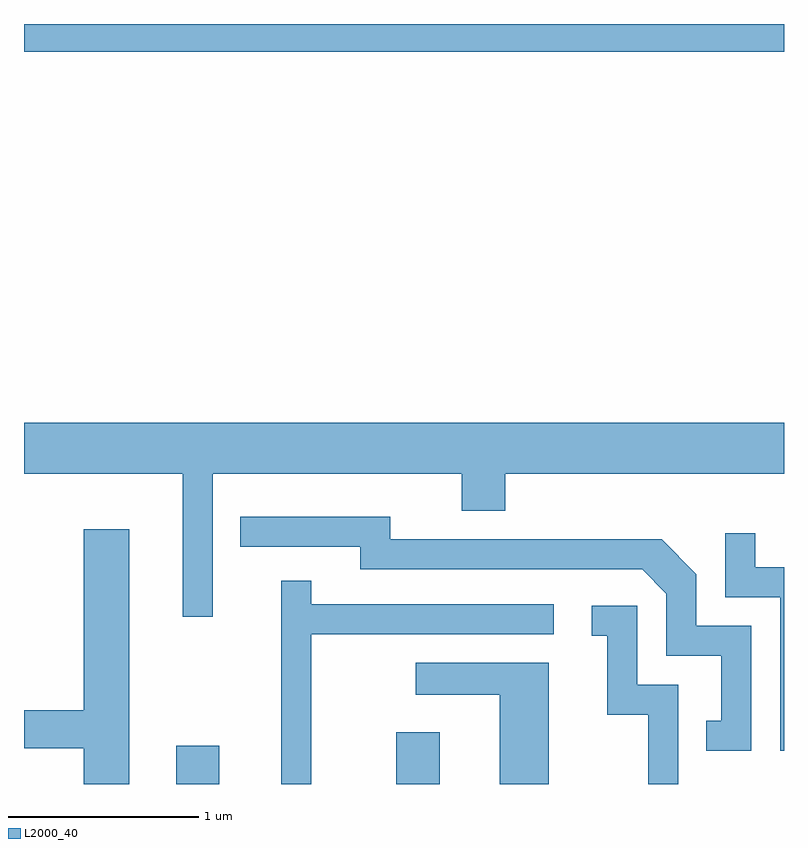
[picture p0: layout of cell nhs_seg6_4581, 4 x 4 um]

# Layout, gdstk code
import gdstk
lib = gdstk.Library(unit=1e-6, precision=1e-09)
def R(c, l, rs):  # rectangles x0, y0, x1, y1
    for r in rs: c.add(gdstk.rectangle(r[:2], r[2:], *l))
def P(c, l, *ps):  # polygons
    for p in ps: c.add(gdstk.Polygon(p, *l))
L2000_40 = (2000, 40)

nhs_seg6_4581 = lib.new_cell('nhs_seg6_4581')
R(nhs_seg6_4581, L2000_40, [(326.411,1566.162,326.639,1566.364), (327.571,1566.162,327.799,1566.434), (325.611,1570.016,329.611,1570.162)])
P(nhs_seg6_4581, L2000_40, [(326.604,1567.796),(327.916,1567.796),(327.916,1567.601),(328.144,1567.601),(328.144,1567.796),(329.611,1567.796),(329.611,1568.064),(325.611,1568.064),(325.611,1567.796),(326.446,1567.796),(326.446,1567.043),(326.604,1567.043)],
  [(329.439,1566.994),(329.149,1566.994),(329.149,1567.267),(328.967,1567.449),(327.539,1567.449),(327.539,1567.569),(326.748,1567.569),(326.748,1567.411),(327.381,1567.411),(327.381,1567.291),(328.864,1567.291),(328.991,1567.164),(328.991,1566.836),(329.281,1566.836),(329.281,1566.494),(329.203,1566.494),(329.203,1566.336),(329.439,1566.336)],
  [(326.164,1567.504),(325.926,1567.504),(325.926,1566.549),(325.611,1566.549),(325.611,1566.351),(325.926,1566.351),(325.926,1566.162),(326.164,1566.162)],
  [(329.611,1567.304),(329.459,1567.304),(329.459,1567.483),(329.301,1567.483),(329.301,1567.146),(329.591,1567.146),(329.591,1566.336),(329.611,1566.336)],
  [(327.124,1566.951),(328.398,1566.951),(328.398,1567.109),(327.124,1567.109),(327.124,1567.233),(326.966,1567.233),(326.966,1566.162),(327.124,1566.162)],
  [(329.054,1566.684),(328.839,1566.684),(328.839,1567.099),(328.598,1567.099),(328.598,1566.941),(328.681,1566.941),(328.681,1566.526),(328.896,1566.526),(328.896,1566.162),(329.054,1566.162)],
  [(328.374,1566.799),(327.673,1566.799),(327.673,1566.631),(328.116,1566.631),(328.116,1566.162),(328.374,1566.162)])

lib.write_gds('nhs_seg6_4581.gds')
